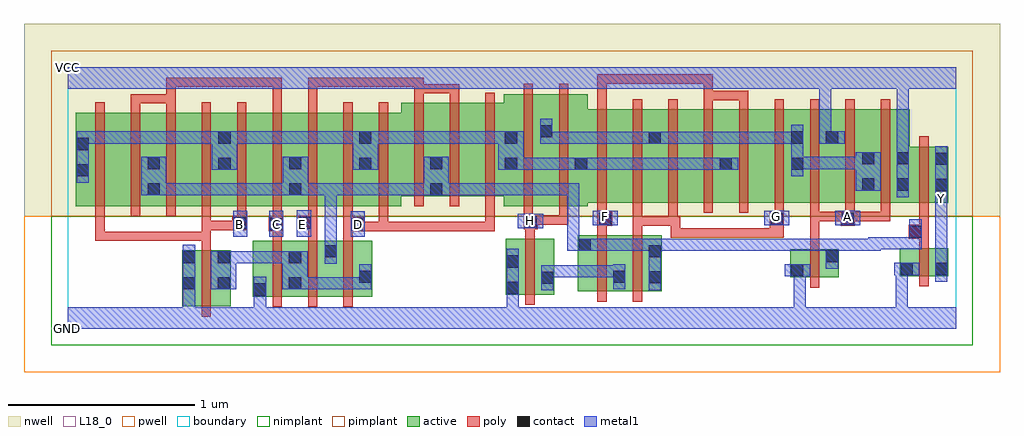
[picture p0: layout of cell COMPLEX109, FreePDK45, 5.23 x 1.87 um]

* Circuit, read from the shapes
.subckt COMPLEX109 A B C D E F G GND H VCC Y
M1 n1 B GND VSUBS nfet w=0.3u l=0.05u
M2 n1 C GND VSUBS nfet w=0.3u l=0.05u
M3 n2 E n1 VSUBS nfet w=0.3u l=0.05u
M4 n1 D n2 VSUBS nfet w=0.3u l=0.05u
M5 n3 H GND VSUBS nfet w=0.3u l=0.05u
M6 n3 F n2 VSUBS nfet w=0.3u l=0.05u
M7 n2 G n3 VSUBS nfet w=0.3u l=0.05u
M8 n2 A GND VSUBS nfet w=0.15u l=0.05u
M9 Y n2 GND VSUBS nfet w=0.15u l=0.05u
M10 n4 B n5 n6 pfet w=0.5u l=0.05u
M11 n2 C n4 n6 pfet w=0.5u l=0.05u
M12 n7 C n2 n6 pfet w=0.5u l=0.05u
M13 n5 B n7 n6 pfet w=0.5u l=0.05u
M14 n8 B n5 n6 pfet w=0.5u l=0.05u
M15 n2 C n8 n6 pfet w=0.5u l=0.05u
M16 n9 E n2 n6 pfet w=0.5u l=0.05u
M17 n5 D n9 n6 pfet w=0.5u l=0.05u
M18 n10 D n5 n6 pfet w=0.5u l=0.05u
M19 n2 E n10 n6 pfet w=0.5u l=0.05u
M20 n11 E n2 n6 pfet w=0.5u l=0.05u
M21 n5 D n11 n6 pfet w=0.5u l=0.05u
M22 n12 H n5 n6 pfet w=0.6u l=0.05u m=2
M23 n13 F n5 n6 pfet w=0.5u l=0.05u
M24 n12 G n13 n6 pfet w=0.5u l=0.05u
M25 n14 G n12 n6 pfet w=0.5u l=0.05u
M26 n5 F n14 n6 pfet w=0.5u l=0.05u
M27 n15 F n5 n6 pfet w=0.5u l=0.05u
M28 n12 G n15 n6 pfet w=0.5u l=0.05u
M29 VCC A n12 n6 pfet w=0.5u l=0.05u m=3
M30 Y n2 VCC n6 pfet w=0.3u l=0.05u
.ends

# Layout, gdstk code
import gdstk
lib = gdstk.Library(unit=1e-6, precision=1e-09)
def R(c, l, rs):  # rectangles x0, y0, x1, y1
    for r in rs: c.add(gdstk.rectangle(r[:2], r[2:], *l))
def A(c, l, x, y, w, h, nx, ny, dx, dy):  # array of equal rectangles
    R(c, l, [(x+i*dx, y+j*dy, x+i*dx+w, y+j*dy+h) for i in range(nx) for j in range(ny)])
active = (1, 0)
pwell = (2, 0)
nwell = (3, 0)
nimplant = (4, 0)
pimplant = (5, 0)
poly = (9, 0)
contact = (10, 0)
metal1 = (11, 0)
L18_0 = (18, 0)
boundary = (235, 0)

complex109 = lib.new_cell('COMPLEX109')
A(complex109, active, 0.042, 0.657, 0.225, 0.5, 4, 1, 0.38, 0)
A(complex109, active, 0.267, 0.657, 0.23, 0.5, 3, 1, 0.38, 0)
R(complex109, active, [(0.612,0.12,0.872,0.42), (0.992,0.172,1.067,0.472), (0.992,0.172,1.255,0.472), (1.18,0.172,1.447,0.472), (1.372,0.172,1.632,0.472), (2.347,0.182,2.607,0.482), (2.347,0.182,2.422,0.482), (0.797,0.2,0.872,0.42), (1.18,0.2,1.255,0.42), (1.557,0.2,1.632,0.472), (2.532,0.2,2.607,0.482), (2.732,0.2,2.992,0.5), (2.917,0.2,3.182,0.5), (0.612,0.205,0.687,0.42), (2.917,0.232,2.992,0.392), (3.107,0.232,3.182,0.5), (1.372,0.247,1.447,0.452), (2.732,0.247,2.807,0.5), (3.872,0.275,3.947,0.425), (3.872,0.275,4.132,0.425), (4.057,0.275,4.132,0.425), (4.457,0.282,4.532,0.432), (4.457,0.282,4.717,0.432), (4.642,0.282,4.717,0.432), (0.042,0.657,0.117,1.157), (0.422,0.657,0.497,1.07), (0.802,0.657,0.877,1.157), (1.182,0.657,1.257,1.07), (1.407,0.657,1.632,1.157), (1.557,0.657,1.787,1.157), (2.337,0.657,2.602,1.257), (2.527,0.657,2.787,1.257), (2.712,0.675,2.957,1.175), (2.957,0.675,3.182,1.175), (3.107,0.675,3.182,1.175), (3.107,0.675,3.337,1.175), (3.337,0.675,3.562,1.175), (3.487,0.675,3.717,1.175), (3.487,0.675,3.562,1.07), (3.717,0.675,3.947,1.175), (3.872,0.675,4.132,1.175), (3.872,0.675,3.947,1.157), (4.057,0.675,4.327,1.175), (4.057,0.675,4.132,1.175), (4.252,0.675,4.512,1.175), (4.252,0.675,4.327,1.157), (4.437,0.675,4.512,0.957), (4.437,0.675,4.717,0.975), (4.642,0.675,4.717,0.975), (1.557,0.682,1.632,1.157), (2.527,0.707,2.602,1.2), (1.787,0.71,2.012,1.21), (1.937,0.71,2.167,1.21), (1.937,0.71,2.012,1.07), (2.167,0.71,2.412,1.21), (2.337,0.71,2.412,1.2), (2.712,0.762,2.787,1.07)])
R(complex109, pwell, [(-0.235,-0.235,4.995,0.602)])
R(complex109, nwell, [(-0.235,0.602,4.995,1.635)])
R(complex109, nimplant, [(-0.09,-0.09,4.85,0.602)])
R(complex109, pimplant, [(-0.09,0.602,4.85,1.49)])
A(complex109, poly, 1.097, 0.117, 0.05, 0.41, 3, 1, 0.19, 0)
A(complex109, poly, 3.787, 0.575, 0.05, 0.095, 4, 1, 0.19, 0)
A(complex109, poly, 0.147, 0.602, 0.05, 0.61, 9, 1, 0.19, 0)
A(complex109, poly, 2.837, 0.62, 0.05, 0.61, 9, 1, 0.19, 0)
A(complex109, poly, 1.857, 0.655, 0.05, 0.61, 3, 1, 0.19, 0)
R(complex109, poly, [(0.717,0.065,0.767,0.475), (2.452,0.127,2.502,0.537), (2.837,0.145,2.887,0.555), (3.027,0.145,3.077,0.555), (3.977,0.22,4.027,0.48), (4.562,0.227,4.612,0.487), (0.717,0.425,0.767,0.52), (3.977,0.43,4.027,0.625), (4.562,0.437,4.612,0.532), (0.147,0.47,0.197,0.52), (0.147,0.47,0.197,0.52), (0.147,0.47,0.197,0.52), (0.147,0.47,0.33,0.52), (0.147,0.47,0.197,0.652), (0.28,0.47,0.33,0.52), (0.28,0.47,0.33,0.52), (0.28,0.47,0.33,0.52), (0.28,0.47,0.562,0.52), (0.512,0.47,0.562,0.52), (0.512,0.47,0.562,0.52), (0.512,0.47,0.562,0.52), (0.512,0.47,0.767,0.52), (0.717,0.47,0.767,0.577), (1.097,0.477,1.147,0.572), (1.287,0.477,1.337,0.58), (1.477,0.477,1.527,0.572), (4.505,0.482,4.612,0.557), (2.452,0.487,2.502,0.582), (3.232,0.487,3.515,0.537), (3.232,0.487,3.282,0.6), (3.465,0.487,3.515,0.537), (3.465,0.487,3.515,0.537), (3.465,0.487,3.515,0.537), (3.465,0.487,3.68,0.537), (3.63,0.487,3.68,0.537), (3.63,0.487,3.68,0.537), (3.63,0.487,3.68,0.537), (3.63,0.487,3.812,0.537), (3.762,0.487,3.837,0.625), (2.837,0.505,2.887,0.6), (3.027,0.505,3.077,0.6), (4.562,0.507,4.612,0.67), (1.077,0.522,1.152,0.597), (1.477,0.522,1.585,0.597), (1.535,0.522,1.585,0.572), (1.535,0.522,1.585,0.572), (1.535,0.522,1.717,0.572), (1.667,0.522,1.717,0.572), (1.667,0.522,1.85,0.572), (1.667,0.522,1.717,0.652), (1.8,0.522,2.04,0.572), (1.8,0.522,1.85,0.572), (1.8,0.522,1.85,0.572), (1.8,0.522,1.85,0.572), (1.99,0.522,2.04,0.572), (1.99,0.522,2.04,0.572), (1.99,0.522,2.04,0.572), (1.99,0.522,2.287,0.572), (2.237,0.522,2.287,0.572), (2.237,0.522,2.287,0.572), (2.237,0.522,2.287,0.572), (2.237,0.522,2.287,0.705), (0.717,0.527,0.932,0.577), (0.717,0.527,0.767,0.652), (0.882,0.527,0.932,0.577), (0.882,0.527,0.932,0.577), (0.882,0.527,0.957,0.605), (1.235,0.53,1.337,0.605), (2.442,0.532,2.517,0.607), (1.097,0.547,1.147,0.652), (1.477,0.547,1.527,0.652), (2.837,0.55,2.917,0.625), (3.027,0.55,3.267,0.6), (3.027,0.55,3.077,0.6), (3.027,0.55,3.077,0.6), (3.027,0.55,3.077,0.6), (3.027,0.55,3.077,0.67), (3.217,0.55,3.267,0.6), (3.217,0.55,3.282,0.6), (3.217,0.55,3.267,0.67), (4.142,0.55,4.217,0.625), (0.907,0.555,0.957,0.652), (1.287,0.555,1.337,0.652), (2.442,0.557,2.492,0.652), (2.467,0.557,2.682,0.607), (2.632,0.557,2.682,0.652), (2.632,0.557,2.682,0.607), (2.632,0.557,2.682,0.607), (2.632,0.557,2.682,0.607), (2.837,0.575,2.887,0.67), (3.977,0.575,4.027,0.625), (3.977,0.575,4.027,0.625), (3.977,0.575,4.027,0.625), (3.977,0.575,4.192,0.625), (4.167,0.575,4.407,0.625), (4.167,0.575,4.217,0.625), (4.167,0.575,4.217,0.625), (4.357,0.575,4.407,0.625), (2.442,0.602,2.492,1.312), (2.632,0.602,2.682,1.312), (4.562,0.62,4.612,1.03), (0.337,1.162,0.387,1.257), (0.527,1.162,0.577,1.257), (1.097,1.162,1.147,1.345), (1.287,1.162,1.337,1.345), (2.837,1.18,2.887,1.362), (3.407,1.18,3.457,1.275), (3.597,1.18,3.647,1.275), (0.337,1.207,0.577,1.257), (0.337,1.207,0.387,1.257), (0.337,1.207,0.387,1.257), (0.337,1.207,0.387,1.257), (0.527,1.207,0.577,1.345), (1.857,1.215,1.907,1.31), (2.047,1.215,2.097,1.31), (3.407,1.225,3.647,1.275), (3.407,1.225,3.457,1.275), (3.407,1.225,3.457,1.275), (3.407,1.225,3.457,1.362), (3.597,1.225,3.647,1.275), (1.857,1.26,2.097,1.31), (1.857,1.26,1.907,1.345), (2.047,1.26,2.097,1.31), (2.047,1.26,2.097,1.31), (2.047,1.26,2.097,1.31), (0.527,1.295,0.577,1.345), (0.527,1.295,0.577,1.345), (0.527,1.295,0.8,1.345), (0.75,1.295,0.8,1.345), (0.75,1.295,0.932,1.345), (0.882,1.295,0.932,1.345), (0.882,1.295,0.932,1.345), (0.882,1.295,0.932,1.345), (0.882,1.295,1.147,1.345), (1.097,1.295,1.147,1.345), (1.097,1.295,1.147,1.345), (1.097,1.295,1.147,1.345), (1.287,1.295,1.337,1.345), (1.287,1.295,1.337,1.345), (1.287,1.295,1.337,1.345), (1.287,1.295,1.47,1.345), (1.42,1.295,1.47,1.345), (1.42,1.295,1.47,1.345), (1.42,1.295,1.47,1.345), (1.42,1.295,1.717,1.345), (1.667,1.295,1.907,1.345), (1.667,1.295,1.717,1.345), (1.857,1.295,1.907,1.345), (1.857,1.295,1.907,1.345), (2.837,1.312,3.077,1.362), (2.837,1.312,2.887,1.362), (2.837,1.312,2.887,1.362), (2.837,1.312,2.887,1.362), (3.027,1.312,3.077,1.362), (3.027,1.312,3.077,1.362), (3.027,1.312,3.077,1.362), (3.027,1.312,3.21,1.362), (3.16,1.312,3.21,1.362), (3.16,1.312,3.21,1.362), (3.16,1.312,3.21,1.362), (3.16,1.312,3.457,1.362)])
R(complex109, contact, [(0.997,0.177,1.062,0.242), (2.352,0.187,2.417,0.252), (0.617,0.21,0.682,0.275), (0.802,0.21,0.867,0.275), (1.185,0.21,1.25,0.275), (2.537,0.24,2.602,0.305), (3.112,0.242,3.177,0.307), (1.562,0.245,1.627,0.31), (2.922,0.245,2.987,0.31), (3.877,0.28,3.942,0.345), (4.462,0.287,4.527,0.352), (4.647,0.287,4.712,0.352), (2.352,0.327,2.417,0.392), (0.617,0.35,0.682,0.415), (0.802,0.35,0.867,0.415), (1.185,0.35,1.25,0.415), (4.062,0.355,4.127,0.42), (1.377,0.382,1.442,0.447), (3.112,0.382,3.177,0.447), (2.737,0.417,2.802,0.482), (4.51,0.487,4.575,0.552), (1.082,0.527,1.147,0.592), (1.515,0.527,1.58,0.592), (0.887,0.532,0.952,0.597), (1.24,0.535,1.305,0.6), (2.447,0.537,2.512,0.602), (2.847,0.555,2.912,0.62), (3.767,0.555,3.832,0.62), (4.147,0.555,4.212,0.62), (0.427,0.715,0.492,0.78), (1.187,0.715,1.252,0.78), (1.942,0.715,2.007,0.78), (4.647,0.737,4.712,0.802), (4.257,0.74,4.322,0.805), (4.442,0.74,4.507,0.805), (0.047,0.817,0.112,0.882), (0.807,0.852,0.872,0.917), (1.562,0.852,1.627,0.917), (2.342,0.852,2.407,0.917), (2.717,0.852,2.782,0.917), (3.492,0.852,3.557,0.917), (3.877,0.852,3.942,0.917), (0.427,0.855,0.492,0.92), (1.187,0.855,1.252,0.92), (1.942,0.855,2.007,0.92), (4.647,0.877,4.712,0.942), (4.257,0.88,4.322,0.945), (4.442,0.88,4.507,0.945), (0.047,0.957,0.112,1.022), (3.112,0.99,3.177,1.055), (0.807,0.992,0.872,1.057), (1.562,0.992,1.627,1.057), (2.342,0.992,2.407,1.057), (3.877,0.992,3.942,1.057), (4.062,0.992,4.127,1.057), (2.532,1.025,2.597,1.09)])
A(complex109, metal1, 1.977, 0.715, 0.203, 0.065, 3, 1, 0.28, 0)
R(complex109, metal1, [(0,0,4.76,0.115), (0.617,0.05,0.682,0.24), (0.997,0.05,1.062,0.115), (0.997,0.05,1.062,0.115), (0.997,0.05,1.062,0.207), (2.352,0.05,2.417,0.115), (2.352,0.05,2.417,0.115), (2.352,0.05,2.417,0.217), (3.89,0.05,3.955,0.345), (4.437,0.05,4.502,0.352), (0.997,0.142,1.062,0.277), (2.352,0.152,2.417,0.427), (0.617,0.175,0.682,0.24), (0.617,0.175,0.682,0.24), (0.617,0.175,0.682,0.45), (2.537,0.205,2.602,0.34), (3.112,0.207,3.177,0.482), (0.767,0.21,0.902,0.415), (1.15,0.21,1.285,0.415), (1.22,0.21,1.285,0.275), (1.22,0.21,1.285,0.275), (1.22,0.21,1.442,0.275), (1.377,0.21,1.442,0.275), (1.377,0.21,1.442,0.275), (1.377,0.21,1.442,0.275), (1.377,0.21,1.627,0.275), (1.562,0.21,1.627,0.345), (2.922,0.21,2.987,0.345), (4.647,0.252,4.712,0.387), (2.537,0.275,2.602,0.34), (2.537,0.275,2.602,0.34), (2.537,0.275,2.837,0.34), (2.772,0.275,2.837,0.34), (2.772,0.275,2.987,0.34), (2.922,0.275,2.987,0.34), (2.922,0.275,2.987,0.34), (3.842,0.28,3.977,0.345), (3.89,0.28,3.955,0.345), (3.89,0.28,3.955,0.345), (3.89,0.28,3.955,0.345), (3.89,0.28,3.955,0.345), (4.427,0.287,4.562,0.352), (4.437,0.287,4.502,0.352), (4.437,0.287,4.502,0.352), (4.437,0.287,4.502,0.352), (4.437,0.287,4.502,0.352), (4.062,0.32,4.127,0.482), (4.647,0.322,4.712,0.697), (1.377,0.347,1.442,0.482), (0.837,0.35,0.94,0.415), (0.875,0.35,0.94,0.415), (0.875,0.35,1.077,0.415), (1.012,0.35,1.077,0.415), (1.012,0.35,1.077,0.415), (1.012,0.35,1.077,0.415), (1.012,0.35,1.215,0.415), (1.377,0.417,1.442,0.78), (2.675,0.417,2.74,0.78), (2.675,0.417,2.837,0.482), (2.772,0.417,2.837,0.482), (2.772,0.417,2.837,0.482), (2.772,0.417,2.975,0.482), (2.91,0.417,2.975,0.482), (2.91,0.417,3.177,0.482), (3.112,0.417,3.177,0.482), (3.112,0.417,3.177,0.482), (3.112,0.417,3.35,0.482), (3.285,0.417,3.35,0.482), (3.285,0.417,3.35,0.482), (3.285,0.417,3.35,0.482), (3.285,0.417,3.487,0.482), (3.422,0.417,3.487,0.482), (3.422,0.417,3.487,0.482), (3.422,0.417,3.487,0.482), (3.422,0.417,3.66,0.482), (3.595,0.417,3.66,0.482), (3.595,0.417,3.66,0.482), (3.595,0.417,3.66,0.482), (3.595,0.417,3.805,0.482), (3.74,0.417,3.805,0.482), (3.74,0.417,3.955,0.482), (3.89,0.417,3.955,0.482), (3.89,0.417,3.955,0.482), (3.89,0.417,3.955,0.482), (3.89,0.417,4.127,0.482), (4.062,0.417,4.127,0.482), (4.062,0.417,4.127,0.482), (4.062,0.417,4.355,0.482), (4.29,0.417,4.355,0.482), (4.29,0.417,4.355,0.482), (4.29,0.417,4.355,0.49), (4.29,0.425,4.575,0.49), (4.51,0.425,4.575,0.49), (4.51,0.425,4.575,0.517), (4.51,0.452,4.575,0.517), (4.51,0.452,4.575,0.517), (4.51,0.452,4.575,0.587), (0.887,0.492,0.962,0.632), (1.08,0.492,1.155,0.632), (1.227,0.492,1.305,0.635), (1.515,0.492,1.592,0.63), (2.412,0.537,2.547,0.615), (2.812,0.555,2.947,0.632), (3.732,0.555,3.867,0.632), (4.112,0.555,4.247,0.632), (4.647,0.632,4.712,0.767), (4.647,0.702,4.712,0.767), (4.647,0.702,4.712,0.977), (4.442,0.705,4.507,0.98), (0.392,0.715,0.527,0.92), (0.462,0.715,0.527,0.78), (0.462,0.715,0.527,0.78), (0.462,0.715,0.665,0.78), (0.6,0.715,0.665,0.78), (0.6,0.715,0.802,0.78), (0.737,0.715,0.802,0.78), (0.737,0.715,0.802,0.78), (0.737,0.715,0.802,0.78), (0.737,0.715,0.94,0.78), (0.875,0.715,0.94,0.78), (0.875,0.715,1.077,0.78), (1.012,0.715,1.077,0.78), (1.012,0.715,1.077,0.78), (1.012,0.715,1.077,0.78), (1.012,0.715,1.217,0.78), (1.152,0.715,1.287,0.92), (1.222,0.715,1.287,0.78), (1.222,0.715,1.287,0.78), (1.222,0.715,1.442,0.78), (1.377,0.715,1.442,0.78), (1.377,0.715,1.442,0.78), (1.377,0.715,1.442,0.78), (1.377,0.715,1.442,0.78), (1.377,0.715,1.442,0.78), (1.377,0.715,1.697,0.78), (1.632,0.715,1.697,0.78), (1.632,0.715,1.697,0.78), (1.632,0.715,1.697,0.78), (1.632,0.715,1.835,0.78), (1.77,0.715,1.835,0.78), (1.77,0.715,1.972,0.78), (1.907,0.715,1.972,0.78), (1.907,0.715,1.972,0.78), (1.907,0.715,2.042,0.92), (2.115,0.715,2.18,0.78), (2.115,0.715,2.18,0.78), (2.115,0.715,2.18,0.78), (2.115,0.715,2.322,0.78), (2.257,0.715,2.322,0.78), (2.257,0.715,2.322,0.78), (2.257,0.715,2.322,0.78), (2.395,0.715,2.46,0.78), (2.395,0.715,2.602,0.78), (2.537,0.715,2.602,0.78), (2.537,0.715,2.602,0.78), (2.537,0.715,2.602,0.78), (2.675,0.715,2.74,0.78), (2.675,0.715,2.74,0.78), (2.675,0.715,2.74,0.78), (4.222,0.74,4.357,0.945), (0.047,0.782,0.112,1.057), (3.877,0.817,3.942,1.092), (0.772,0.852,0.907,1.057), (1.527,0.852,1.662,1.057), (2.307,0.852,2.442,1.057), (2.377,0.852,2.46,0.917), (2.395,0.852,2.46,0.917), (2.395,0.852,2.602,0.917), (2.537,0.852,2.602,0.917), (2.537,0.852,2.602,0.917), (2.537,0.852,2.602,0.917), (2.537,0.852,2.747,0.917), (2.682,0.852,2.817,0.917), (2.752,0.852,2.975,0.917), (2.91,0.852,2.975,0.917), (2.91,0.852,2.975,0.917), (2.91,0.852,2.975,0.917), (2.91,0.852,3.212,0.917), (3.147,0.852,3.212,0.917), (3.147,0.852,3.212,0.917), (3.147,0.852,3.212,0.917), (3.147,0.852,3.35,0.917), (3.285,0.852,3.35,0.917), (3.285,0.852,3.35,0.917), (3.285,0.852,3.35,0.917), (3.285,0.852,3.522,0.917), (3.457,0.852,3.522,0.917), (3.457,0.852,3.522,0.917), (3.457,0.852,3.592,0.917), (3.877,0.855,3.942,0.92), (3.877,0.855,3.942,0.92), (3.877,0.855,4.092,0.92), (4.027,0.855,4.092,0.92), (4.027,0.855,4.092,0.92), (4.027,0.855,4.092,0.92), (4.027,0.855,4.287,0.92), (4.442,0.915,4.507,1.35), (2.532,0.99,2.597,1.055), (2.532,0.99,2.597,1.055), (2.532,0.99,2.597,1.125), (2.532,0.99,2.837,1.055), (2.772,0.99,2.837,1.055), (2.772,0.99,2.975,1.055), (2.91,0.99,2.975,1.055), (2.91,0.99,2.975,1.055), (2.91,0.99,2.975,1.055), (2.91,0.99,3.142,1.055), (3.077,0.99,3.142,1.055), (3.077,0.99,3.142,1.055), (3.077,0.99,3.212,1.055), (3.147,0.99,3.35,1.055), (3.285,0.99,3.35,1.055), (3.285,0.99,3.35,1.055), (3.285,0.99,3.35,1.055), (3.285,0.99,3.522,1.055), (3.457,0.99,3.522,1.055), (3.457,0.99,3.522,1.055), (3.457,0.99,3.522,1.055), (3.457,0.99,3.66,1.055), (3.595,0.99,3.66,1.055), (3.595,0.99,3.66,1.055), (3.595,0.99,3.66,1.055), (3.595,0.99,3.797,1.055), (3.732,0.99,3.797,1.055), (3.732,0.99,3.942,1.055), (0.047,0.992,0.112,1.057), (0.047,0.992,0.112,1.057), (0.047,0.992,0.32,1.057), (0.255,0.992,0.32,1.057), (0.255,0.992,0.32,1.057), (0.255,0.992,0.32,1.057), (0.255,0.992,0.527,1.057), (0.462,0.992,0.527,1.057), (0.462,0.992,0.527,1.057), (0.462,0.992,0.527,1.057), (0.462,0.992,0.665,1.057), (0.6,0.992,0.665,1.057), (0.6,0.992,0.665,1.057), (0.6,0.992,0.665,1.057), (0.6,0.992,0.837,1.057), (0.842,0.992,0.94,1.057), (0.875,0.992,0.94,1.057), (0.875,0.992,1.077,1.057), (1.012,0.992,1.077,1.057), (1.012,0.992,1.077,1.057), (1.012,0.992,1.077,1.057), (1.012,0.992,1.215,1.057), (1.15,0.992,1.215,1.057), (1.15,0.992,1.215,1.057), (1.15,0.992,1.215,1.057), (1.15,0.992,1.425,1.057), (1.36,0.992,1.425,1.057), (1.36,0.992,1.56,1.057), (1.495,0.992,1.56,1.057), (1.495,0.992,1.592,1.057), (1.597,0.992,1.835,1.057), (1.77,0.992,1.835,1.057), (1.77,0.992,1.835,1.057), (1.77,0.992,1.835,1.057), (1.77,0.992,1.972,1.057), (1.907,0.992,1.972,1.057), (1.907,0.992,1.972,1.057), (1.907,0.992,1.972,1.057), (1.907,0.992,2.18,1.057), (2.115,0.992,2.18,1.057), (2.115,0.992,2.18,1.057), (2.115,0.992,2.18,1.057), (2.115,0.992,2.322,1.057), (2.257,0.992,2.322,1.057), (2.257,0.992,2.372,1.057), (4.027,0.992,4.162,1.057), (4.027,0.992,4.092,1.35), (0,1.285,4.76,1.4), (4.027,1.285,4.092,1.35), (4.027,1.285,4.092,1.35), (4.442,1.285,4.507,1.35), (4.442,1.285,4.507,1.35)])
R(complex109, L18_0, [(0,0,4.76,0.115), (0.617,0.05,0.682,0.24), (0.997,0.05,1.062,0.115), (0.997,0.05,1.062,0.115), (0.997,0.05,1.062,0.207), (2.352,0.05,2.417,0.115), (2.352,0.05,2.417,0.115), (2.352,0.05,2.417,0.217), (3.89,0.05,3.955,0.345), (4.437,0.05,4.502,0.352), (0.997,0.142,1.062,0.277), (2.352,0.152,2.417,0.427), (0.617,0.175,0.682,0.24), (0.617,0.175,0.682,0.24), (0.617,0.175,0.682,0.45), (4.647,0.252,4.712,0.387), (3.842,0.28,3.977,0.345), (3.89,0.28,3.955,0.345), (3.89,0.28,3.955,0.345), (3.89,0.28,3.955,0.345), (3.89,0.28,3.955,0.345), (4.427,0.287,4.562,0.352), (4.437,0.287,4.502,0.352), (4.437,0.287,4.502,0.352), (4.437,0.287,4.502,0.352), (4.437,0.287,4.502,0.352), (4.647,0.322,4.712,0.697), (0.887,0.492,0.962,0.632), (1.08,0.492,1.155,0.632), (1.227,0.492,1.305,0.635), (1.515,0.492,1.592,0.63), (0.887,0.527,0.952,0.592), (1.087,0.527,1.152,0.592), (1.227,0.527,1.292,0.592), (1.527,0.527,1.592,0.592), (2.412,0.537,2.547,0.615), (2.447,0.547,2.512,0.612), (2.812,0.555,2.947,0.632), (3.732,0.555,3.867,0.632), (4.112,0.555,4.247,0.632), (2.847,0.567,2.912,0.632), (3.767,0.567,3.832,0.632), (4.147,0.567,4.212,0.632), (4.647,0.632,4.712,0.767), (4.647,0.667,4.712,0.732), (4.647,0.702,4.712,0.767), (4.647,0.702,4.712,0.977), (4.442,0.705,4.507,0.98), (4.442,0.915,4.507,1.35), (4.027,0.992,4.162,1.057), (4.027,0.992,4.092,1.35), (0,1.285,4.76,1.4), (4.027,1.285,4.092,1.35), (4.027,1.285,4.092,1.35), (4.442,1.285,4.507,1.35), (4.442,1.285,4.507,1.35)])
R(complex109, boundary, [(0,0,4.76,1.4)])
complex109.add(gdstk.Label('A', (4.18,0.6), layer=11, texttype=0))
complex109.add(gdstk.Label('B', (0.92,0.56), layer=11, texttype=0))
complex109.add(gdstk.Label('C', (1.12,0.56), layer=11, texttype=0))
complex109.add(gdstk.Label('D', (1.56,0.56), layer=11, texttype=0))
complex109.add(gdstk.Label('E', (1.26,0.56), layer=11, texttype=0))
complex109.add(gdstk.Label('F', (2.88,0.6), layer=11, texttype=0))
complex109.add(gdstk.Label('G', (3.8,0.6), layer=11, texttype=0))
complex109.add(gdstk.Label('H', (2.48,0.58), layer=11, texttype=0))
complex109.add(gdstk.Label('Y', (4.68,0.7), layer=11, texttype=0))
complex109.add(gdstk.Label('VCC', (0,1.4), layer=11, texttype=0))
complex109.add(gdstk.Label('GND', (0,0), layer=11, texttype=0))

lib.write_gds('COMPLEX109.gds')
